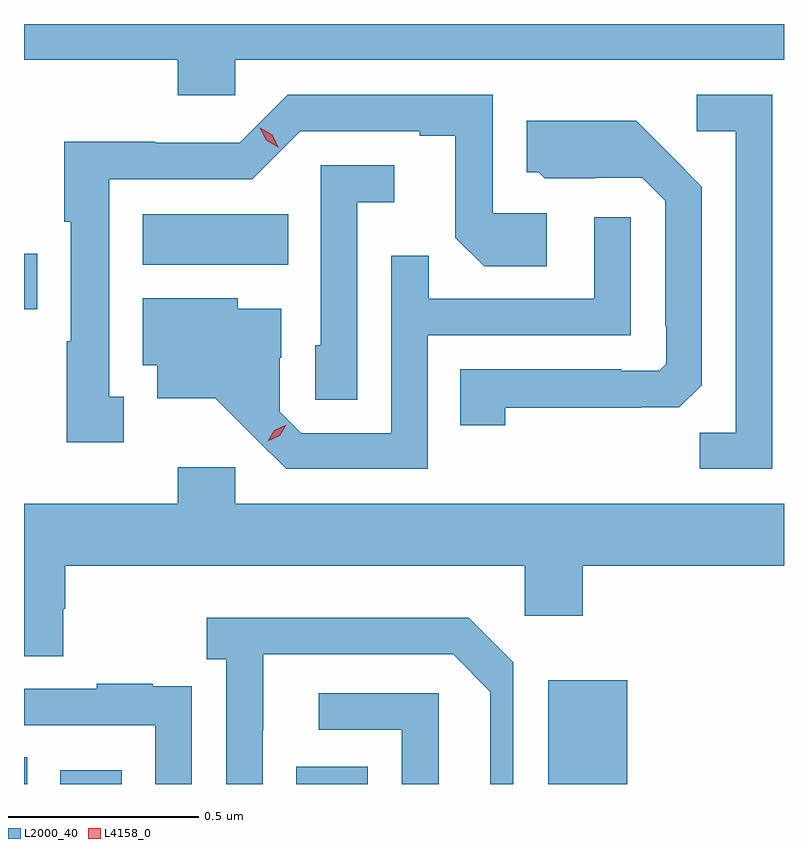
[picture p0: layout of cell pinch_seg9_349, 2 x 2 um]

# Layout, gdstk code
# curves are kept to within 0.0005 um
import gdstk
lib = gdstk.Library(unit=1e-6, precision=1e-09)
def R(c, l, rs):  # rectangles x0, y0, x1, y1
    for r in rs: c.add(gdstk.rectangle(r[:2], r[2:], *l))
def P(c, l, *ps):  # polygons
    for p in ps: c.add(gdstk.Polygon(p, *l))
L2000_40 = (2000, 40)
L4158_0 = (4158, 0)

pinch_seg9_349 = lib.new_cell('pinch_seg9_349')
R(pinch_seg9_349, L2000_40, [(638.114,1179.862,638.122,1179.932), (638.21,1179.862,638.371,1179.898), (638.831,1179.862,639.019,1179.907), (639.494,1179.862,639.701,1180.135), (638.114,1181.111,638.149,1181.258), (638.426,1181.228,638.81,1181.362)])
P(pinch_seg9_349, L2000_40, [(638.67,1181.768),(640.114,1181.768),(640.114,1181.862),(638.114,1181.862),(638.114,1181.768),(638.519,1181.768),(638.519,1181.675),(638.67,1181.675)],
  [(640.083,1181.676),(639.885,1181.676),(639.885,1181.58),(639.987,1181.58),(639.987,1180.787),(639.892,1180.787),(639.892,1180.692),(640.083,1180.692)],
  [(638.377,1180.881),(638.338,1180.881),(638.338,1181.454),(638.715,1181.454),(638.841,1181.58),(639.155,1181.58),(639.155,1181.568),(639.249,1181.568),(639.249,1181.3),(639.325,1181.224),(639.49,1181.224),(639.49,1181.364),(639.348,1181.364),(639.348,1181.676),(638.808,1181.676),(638.682,1181.55),(638.46,1181.55),(638.46,1181.552),(638.22,1181.552),(638.22,1181.341),(638.237,1181.341),(638.237,1181.027),(638.227,1181.027),(638.227,1180.761),(638.377,1180.761)],
  [(639.381,1180.852),(639.737,1180.852),(639.737,1180.853),(639.838,1180.853),(639.897,1180.912),(639.897,1181.434),(639.725,1181.608),(639.437,1181.608),(639.437,1181.472),(639.468,1181.472),(639.484,1181.456),(639.618,1181.456),(639.618,1181.457),(639.741,1181.457),(639.801,1181.397),(639.801,1181.068),(639.804,1181.068),(639.804,1180.968),(639.786,1180.95),(639.686,1180.95),(639.686,1180.953),(639.262,1180.953),(639.262,1180.806),(639.381,1180.806)],
  [(638.991,1181.393),(639.088,1181.393),(639.088,1181.49),(638.895,1181.49),(638.895,1181.016),(638.88,1181.016),(638.88,1180.873),(638.991,1180.873)],
  [(639.177,1181.043),(639.711,1181.043),(639.711,1181.353),(639.615,1181.353),(639.615,1181.139),(639.179,1181.139),(639.179,1181.252),(639.081,1181.252),(639.081,1180.785),(638.844,1180.785),(638.787,1180.842),(638.787,1180.984),(638.791,1180.984),(638.791,1181.113),(638.676,1181.113),(638.676,1181.14),(638.426,1181.14),(638.426,1180.964),(638.465,1180.964),(638.465,1180.877),(638.617,1180.877),(638.804,1180.692),(639.177,1180.692)],
  [(638.67,1180.696),(638.519,1180.696),(638.519,1180.6),(638.114,1180.6),(638.114,1180.198),(638.217,1180.198),(638.217,1180.323),(638.222,1180.323),(638.222,1180.436),(639.432,1180.436),(639.432,1180.305),(639.584,1180.305),(639.584,1180.436),(640.114,1180.436),(640.114,1180.6),(638.67,1180.6)],
  [(638.742,1180.003),(638.743,1180.003),(638.743,1180.203),(639.243,1180.203),(639.341,1180.105),(639.341,1179.862),(639.402,1179.862),(639.402,1180.182),(639.284,1180.3),(638.595,1180.3),(638.595,1180.19),(638.646,1180.19),(638.646,1179.862),(638.742,1179.862)],
  [(638.556,1180.01),(638.555,1180.01),(638.555,1180.119),(638.453,1180.119),(638.453,1180.126),(638.305,1180.126),(638.305,1180.113),(638.114,1180.113),(638.114,1180.017),(638.46,1180.017),(638.46,1179.862),(638.556,1179.862)],
  [(639.205,1180.101),(638.889,1180.101),(638.889,1180.005),(639.108,1180.005),(639.108,1179.862),(639.205,1179.862)])
P(pinch_seg9_349, L4158_0, [(638.756,1180.764),(638.756,1180.764),(638.773,1180.793),(638.804,1180.808),(638.804,1180.808),(638.804,1180.808),(638.787,1180.778),(638.756,1180.764)],
  [(638.784,1181.537),(638.752,1181.556),(638.735,1181.589),(638.735,1181.589),(638.736,1181.589),(638.767,1181.57),(638.784,1181.537),(638.784,1181.537)])

lib.write_gds('pinch_seg9_349.gds')
